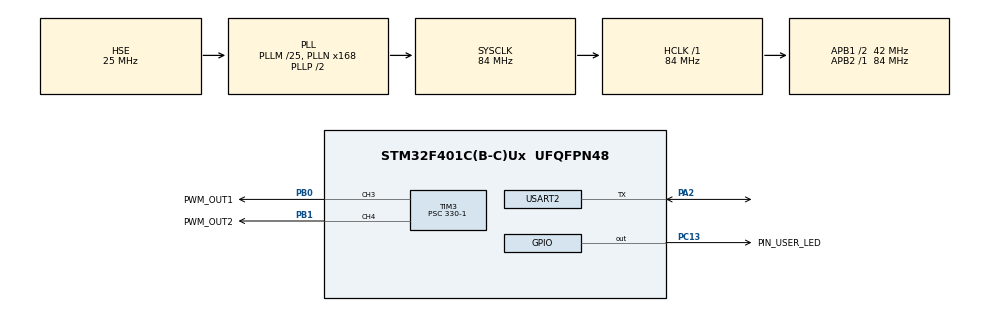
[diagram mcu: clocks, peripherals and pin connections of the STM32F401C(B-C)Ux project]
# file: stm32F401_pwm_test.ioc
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Mcu.Family=STM32F4
Mcu.Name=STM32F401C(B-C)Ux
Mcu.Package=UFQFPN48
NVIC.PriorityGroup=NVIC_PRIORITYGROUP_4
PA13.Mode=Serial_Wire
PA13.Signal=SYS_JTMS-SWDIO
PA14.Mode=Serial_Wire
PA14.Signal=SYS_JTCK-SWCLK
PA2.Mode=Half_duplex(single_wire_mode)
PA2.Signal=USART2_TX
PB0.GPIO_Label=PWM_OUT1
PB0.Signal=S_TIM3_CH3
PB1.GPIO_Label=PWM_OUT2
PB1.Signal=S_TIM3_CH4
PC13-ANTI_TAMP.GPIO_Label=PIN_USER_LED
PC13-ANTI_TAMP.Signal=GPIO_Output
PH0\ -\ OSC_IN.Mode=HSE-External-Oscillator
PH0\ -\ OSC_IN.Signal=RCC_OSC_IN
PH1\ -\ OSC_OUT.Mode=HSE-External-Oscillator
PH1\ -\ OSC_OUT.Signal=RCC_OSC_OUT
ProjectManager.HeapSize=0x200
ProjectManager.StackSize=0x400
ProjectManager.TargetToolchain=STM32CubeIDE
RCC.48MHZClocksFreq_Value=42000000
RCC.AHBFreq_Value=84000000
RCC.APB1CLKDivider=RCC_HCLK_DIV2
RCC.APB1Freq_Value=42000000
RCC.APB1TimFreq_Value=84000000
RCC.APB2Freq_Value=84000000
RCC.APB2TimFreq_Value=84000000
RCC.CortexFreq_Value=84000000
RCC.HCLKFreq_Value=84000000
RCC.HSE_VALUE=25000000
RCC.HSI_VALUE=16000000
RCC.LSE_VALUE=32768
RCC.PLLM=25
RCC.PLLN=168
RCC.PLLSourceVirtual=RCC_PLLSOURCE_HSE
RCC.SYSCLKFreq_VALUE=84000000
RCC.SYSCLKSource=RCC_SYSCLKSOURCE_PLLCLK
RCC.VCOOutputFreq_Value=168000000
SH.S_TIM3_CH3.0=TIM3_CH3,PWM Generation3 CH3
SH.S_TIM3_CH4.0=TIM3_CH4,PWM Generation4 CH4
TIM3.Channel-PWM\ Generation3\ CH3=TIM_CHANNEL_3
TIM3.Channel-PWM\ Generation4\ CH4=TIM_CHANNEL_4
TIM3.Period=255-1
TIM3.Prescaler=330-1
TIM3.Pulse-PWM\ Generation3\ CH3=127
TIM3.Pulse-PWM\ Generation4\ CH4=254
USART2.VirtualMode=VM_ASYNC
VP_TIM3_VS_ClockSourceINT.Mode=Internal
board=custom

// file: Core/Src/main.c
/* USER CODE BEGIN Header */
/**
  ******************************************************************************
  * @file           : main.c
  * @brief          : Main program body
  ******************************************************************************
  * @attention
  *
  * Copyright (c) 2022 STMicroelectronics.
  * All rights reserved.
  *
  * This software is licensed under terms that can be found in the LICENSE file
  * in the root directory of this software component.
  * If no LICENSE file comes with this software, it is provided AS-IS.
  *
  ******************************************************************************
  */
/* USER CODE END Header */
#include "main.h"

TIM_HandleTypeDef htim3;

UART_HandleTypeDef huart2;

void SystemClock_Config(void);
static void MX_GPIO_Init(void);
static void MX_TIM3_Init(void);
static void MX_USART2_UART_Init(void);

/* USER CODE BEGIN 0 */

#ifdef __GNUC__
/* With GCC, small printf (option LD Linker->Libraries->Small printf
 set to 'Yes') calls __io_putchar() */
#define PUTCHAR_PROTOTYPE int __io_putchar(int ch)
#else
#define PUTCHAR_PROTOTYPE int fputc(int ch, FILE *f)
#endif /* __GNUC__ */

//must have this to print in uart com port
PUTCHAR_PROTOTYPE {
	// Place your implementation of fputc here
	// e.g. write a character to the EVAL_COM1 and Loop until the end of transmission
	HAL_UART_Transmit(&huart2, (uint8_t*) &ch, 1, 0xFFFF);

	return ch;
}

#define TIMER_PWM htim3
#define PWM_OUTPUT1 TIM_CHANNEL_3
#define PWM_OUTPUT2 TIM_CHANNEL_4

void set_pwm( uint16_t channel, uint16_t pwm )
{

    // __HAL_TIM_SET_COMPARE
    __HAL_TIM_SET_COMPARE( &TIMER_PWM,  channel,  pwm );
    /*
switch (channel)
{
    case  TIM_CHANNEL_3:
        htim3.Instance->CCR3 = pwm;
        break;
    case TIM_CHANNEL_4:
        htim3.Instance->CCR4 = pwm;
        break;
  default:
      printf("invalid channel\n\r");
      return;

}
*/
}

/* USER CODE END 0 */

int main(void)
{

  /* MCU Configuration--------------------------------------------------------*/

  /* Reset of all peripherals, Initializes the Flash interface and the Systick. */
  HAL_Init();

  /* Configure the system clock */
  SystemClock_Config();

  /* Initialize all configured peripherals */
  MX_GPIO_Init();
  MX_TIM3_Init();
  MX_USART2_UART_Init();

  /* Infinite loop */
  /* USER CODE BEGIN WHILE */

  HAL_TIM_PWM_Start(&TIMER_PWM, PWM_OUTPUT1);
  HAL_TIM_PWM_Start(&TIMER_PWM, PWM_OUTPUT2);
  uint16_t pwm1 = 254, pwm2=255;
  while (1)
  {
      //pwm1++;
      //pwm2--;
       set_pwm(PWM_OUTPUT1 , pwm1 );
       set_pwm(PWM_OUTPUT2 , pwm2 );

		HAL_Delay(15);

    /* USER CODE END WHILE */

  }
}

void SystemClock_Config(void)
{
  RCC_OscInitTypeDef RCC_OscInitStruct = {0};
  RCC_ClkInitTypeDef RCC_ClkInitStruct = {0};

  /** Configure the main internal regulator output voltage
  */
  __HAL_RCC_PWR_CLK_ENABLE();
  __HAL_PWR_VOLTAGESCALING_CONFIG(PWR_REGULATOR_VOLTAGE_SCALE2);

  /** Initializes the RCC Oscillators according to the specified parameters
  * in the RCC_OscInitTypeDef structure.
  */
  RCC_OscInitStruct.OscillatorType = RCC_OSCILLATORTYPE_HSE;
  RCC_OscInitStruct.HSEState = RCC_HSE_ON;
  RCC_OscInitStruct.PLL.PLLState = RCC_PLL_ON;
  RCC_OscInitStruct.PLL.PLLSource = RCC_PLLSOURCE_HSE;
  RCC_OscInitStruct.PLL.PLLM = 25;
  RCC_OscInitStruct.PLL.PLLN = 168;
  RCC_OscInitStruct.PLL.PLLP = RCC_PLLP_DIV2;
  RCC_OscInitStruct.PLL.PLLQ = 4;
  if (HAL_RCC_OscConfig(&RCC_OscInitStruct) != HAL_OK)
  {
    Error_Handler();
  }

  /** Initializes the CPU, AHB and APB buses clocks
  */
  RCC_ClkInitStruct.ClockType = RCC_CLOCKTYPE_HCLK|RCC_CLOCKTYPE_SYSCLK
                              |RCC_CLOCKTYPE_PCLK1|RCC_CLOCKTYPE_PCLK2;
  RCC_ClkInitStruct.SYSCLKSource = RCC_SYSCLKSOURCE_PLLCLK;
  RCC_ClkInitStruct.AHBCLKDivider = RCC_SYSCLK_DIV1;
  RCC_ClkInitStruct.APB1CLKDivider = RCC_HCLK_DIV2;
  RCC_ClkInitStruct.APB2CLKDivider = RCC_HCLK_DIV1;

  if (HAL_RCC_ClockConfig(&RCC_ClkInitStruct, FLASH_LATENCY_2) != HAL_OK)
  {
    Error_Handler();
  }
}

static void MX_TIM3_Init(void)
{

  TIM_ClockConfigTypeDef sClockSourceConfig = {0};
  TIM_MasterConfigTypeDef sMasterConfig = {0};
  TIM_OC_InitTypeDef sConfigOC = {0};

  htim3.Instance = TIM3;
  htim3.Init.Prescaler = 330-1;
  htim3.Init.CounterMode = TIM_COUNTERMODE_UP;
  htim3.Init.Period = 255-1;
  htim3.Init.ClockDivision = TIM_CLOCKDIVISION_DIV1;
  htim3.Init.AutoReloadPreload = TIM_AUTORELOAD_PRELOAD_DISABLE;
  if (HAL_TIM_Base_Init(&htim3) != HAL_OK)
  {
    Error_Handler();
  }
  sClockSourceConfig.ClockSource = TIM_CLOCKSOURCE_INTERNAL;
  if (HAL_TIM_ConfigClockSource(&htim3, &sClockSourceConfig) != HAL_OK)
  {
    Error_Handler();
  }
  if (HAL_TIM_PWM_Init(&htim3) != HAL_OK)
  {
    Error_Handler();
  }
  sMasterConfig.MasterOutputTrigger = TIM_TRGO_RESET;
  sMasterConfig.MasterSlaveMode = TIM_MASTERSLAVEMODE_DISABLE;
  if (HAL_TIMEx_MasterConfigSynchronization(&htim3, &sMasterConfig) != HAL_OK)
  {
    Error_Handler();
  }
  sConfigOC.OCMode = TIM_OCMODE_PWM1;
  sConfigOC.Pulse = 127;
  sConfigOC.OCPolarity = TIM_OCPOLARITY_HIGH;
  sConfigOC.OCFastMode = TIM_OCFAST_DISABLE;
  if (HAL_TIM_PWM_ConfigChannel(&htim3, &sConfigOC, TIM_CHANNEL_3) != HAL_OK)
  {
    Error_Handler();
  }
  sConfigOC.Pulse = 254;
  if (HAL_TIM_PWM_ConfigChannel(&htim3, &sConfigOC, TIM_CHANNEL_4) != HAL_OK)
  {
    Error_Handler();
  }
  HAL_TIM_MspPostInit(&htim3);

}

static void MX_USART2_UART_Init(void)
{

  huart2.Instance = USART2;
  huart2.Init.BaudRate = 115200;
  huart2.Init.WordLength = UART_WORDLENGTH_8B;
  huart2.Init.StopBits = UART_STOPBITS_1;
  huart2.Init.Parity = UART_PARITY_NONE;
  huart2.Init.Mode = UART_MODE_TX_RX;
  huart2.Init.HwFlowCtl = UART_HWCONTROL_NONE;
  huart2.Init.OverSampling = UART_OVERSAMPLING_16;
  if (HAL_HalfDuplex_Init(&huart2) != HAL_OK)
  {
    Error_Handler();
  }

}

static void MX_GPIO_Init(void)
{
  GPIO_InitTypeDef GPIO_InitStruct = {0};

  /* GPIO Ports Clock Enable */
  __HAL_RCC_GPIOC_CLK_ENABLE();
  __HAL_RCC_GPIOH_CLK_ENABLE();
  __HAL_RCC_GPIOA_CLK_ENABLE();
  __HAL_RCC_GPIOB_CLK_ENABLE();

  /*Configure GPIO pin Output Level */
  HAL_GPIO_WritePin(PIN_USER_LED_GPIO_Port, PIN_USER_LED_Pin, GPIO_PIN_RESET);

  /*Configure GPIO pin : PIN_USER_LED_Pin */
  GPIO_InitStruct.Pin = PIN_USER_LED_Pin;
  GPIO_InitStruct.Mode = GPIO_MODE_OUTPUT_PP;
  GPIO_InitStruct.Pull = GPIO_NOPULL;
  GPIO_InitStruct.Speed = GPIO_SPEED_FREQ_LOW;
  HAL_GPIO_Init(PIN_USER_LED_GPIO_Port, &GPIO_InitStruct);

}

void Error_Handler(void)
{
  __disable_irq();
  while (1)
  {
  }
}
